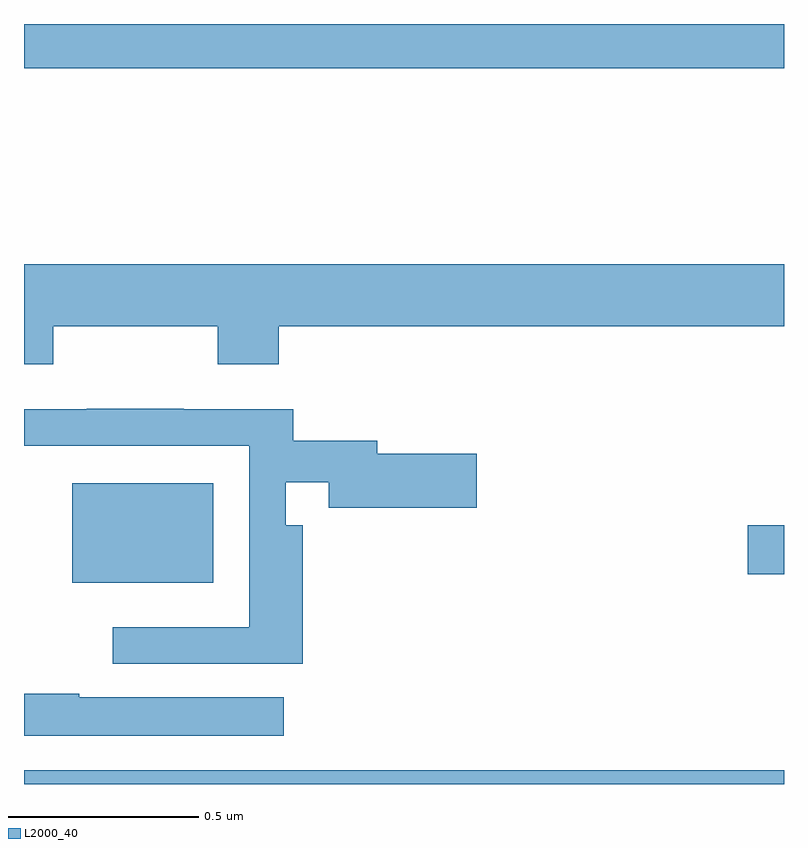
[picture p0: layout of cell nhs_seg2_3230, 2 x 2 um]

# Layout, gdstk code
import gdstk
lib = gdstk.Library(unit=1e-6, precision=1e-09)
def R(c, l, rs):  # rectangles x0, y0, x1, y1
    for r in rs: c.add(gdstk.rectangle(r[:2], r[2:], *l))
def P(c, l, *ps):  # polygons
    for p in ps: c.add(gdstk.Polygon(p, *l))
L2000_40 = (2000, 40)

nhs_seg2_3230 = lib.new_cell('nhs_seg2_3230')
R(nhs_seg2_3230, L2000_40, [(151,611.8,153,611.836), (151.127,612.329,151.498,612.592), (152.904,612.352,153,612.481), (151,613.684,153,613.8)])
P(nhs_seg2_3230, L2000_40, [(151.077,613.004),(151.51,613.004),(151.51,612.905),(151.67,612.905),(151.67,613.004),(153,613.004),(153,613.168),(151,613.168),(151,612.905),(151.077,612.905)],
  [(151.733,612.481),(151.689,612.481),(151.689,612.594),(151.802,612.594),(151.802,612.527),(152.191,612.527),(152.191,612.669),(151.93,612.669),(151.93,612.703),(151.709,612.703),(151.709,612.786),(151.421,612.786),(151.421,612.788),(151.165,612.788),(151.165,612.786),(151,612.786),(151,612.69),(151.593,612.69),(151.593,612.213),(151.233,612.213),(151.233,612.117),(151.733,612.117)],
  [(151.684,612.028),(151.145,612.028),(151.145,612.038),(151,612.038),(151,611.927),(151.684,611.927)])

lib.write_gds('nhs_seg2_3230.gds')
